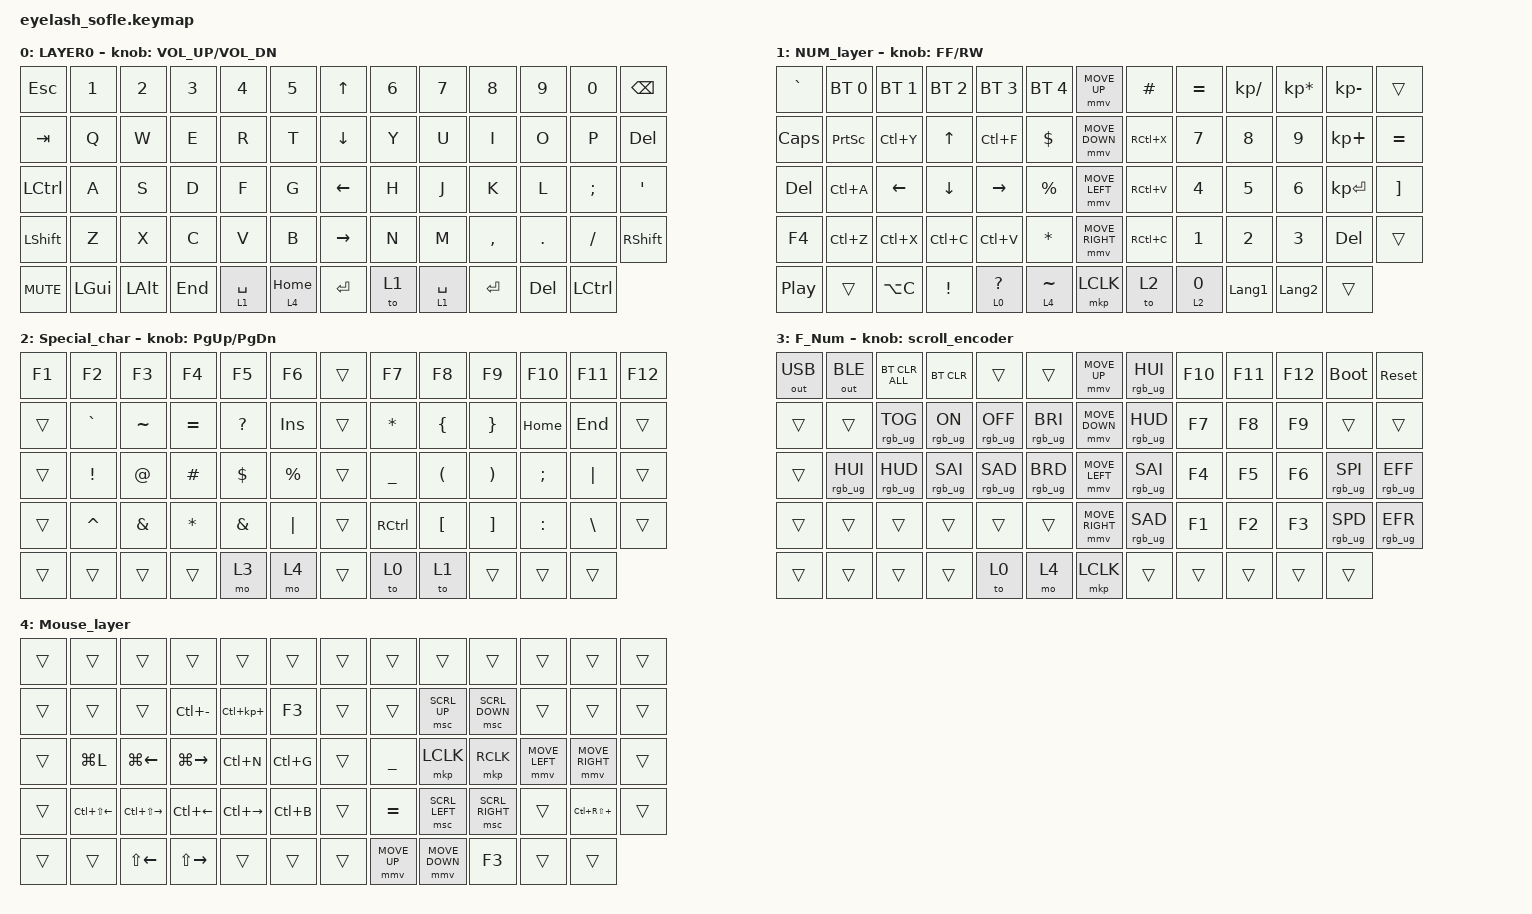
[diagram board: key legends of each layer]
#include <dt-bindings/zmk/mouse.h>
#include <input/processors.dtsi>
#include <behaviors.dtsi>
#include <dt-bindings/zmk/bt.h>
#include <dt-bindings/zmk/keys.h>
#include <dt-bindings/zmk/outputs.h>
#include <dt-bindings/zmk/pointing.h>
#include <dt-bindings/zmk/pointing.h>
#include <dt-bindings/zmk/pointing.h>
#include <dt-bindings/zmk/rgb.h>

/*

   &mmv_input_listener {
       input-processors = <&zip_xy_scaler 2 1>;
   };

   &msc_input_listener {
       input-processors = <&zip_xy_scaler 2 1>;
   };

 */

#define ZMK_MOUSE_DEFAULT_MOVE_VAL 1200  // 600
#define ZMK_MOUSE_DEFAULT_SCRL_VAL 20    // 10

/ {
    behaviors {
        mmv {
            acceleration-exponent = <1>;      // 1
            time-to-max-speed-ms = <900>;    // 40
            delay-ms = <0>;                   // 0
        };

        msc {
            acceleration-exponent = <1>;      // 0
            time-to-max-speed-ms = <400>;      // 500
            delay-ms = <0>;                   //   10
        };
    };

    scroll_encoder: scroll_encoder {
        compatible = "zmk,behavior-sensor-rotate";
        #sensor-binding-cells = <0>;
        bindings = <&msc SCRL_DOWN>, <&msc SCRL_UP>;

        tap-ms = <30>;
    };

    keymap {
        compatible = "zmk,keymap";

        layer0 {
            bindings = <
&kp ESC           &kp N1        &kp N2    &kp N3   &kp N4       &kp N5        &kp UP_ARROW     &kp N6  &kp N7       &kp N8     &kp N9   &kp N0            &kp BACKSPACE
&kp TAB           &kp Q         &kp W     &kp E    &kp R        &kp T         &kp DOWN_ARROW   &kp Y   &kp U        &kp I      &kp O    &kp P             &kp DELETE
&kp LEFT_CONTROL  &kp A         &kp S     &kp D    &kp F        &kp G         &kp LEFT_ARROW   &kp H   &kp J        &kp K      &kp L    &kp SEMI          &kp APOS
&kp LSHFT         &kp Z         &kp X     &kp C    &kp V        &kp B         &kp RIGHT_ARROW  &kp N   &kp M        &kp COMMA  &kp DOT  &kp FSLH          &kp RIGHT_SHIFT
&kp C_MUTE        &kp LEFT_GUI  &kp LALT  &kp END  &lt 1 SPACE  &lt 4 HOME    &kp ENTER        &to 1   &lt 1 SPACE  &kp ENTER  &kp DEL  &kp LEFT_CONTROL
            >;

            sensor-bindings = <&inc_dec_kp C_VOLUME_UP C_VOL_DN>;
            display-name = "LAYER0";
            label = "Default_layer";
        };

        layer_1 {
            bindings = <
&kp GRAVE         &bt BT_SEL 0     &bt BT_SEL 1    &bt BT_SEL 2    &bt BT_SEL 3     &bt BT_SEL 4    &mmv MOVE_UP     &kp HASH   &kp EQUAL       &kp KP_SLASH    &kp KP_MULTIPLY  &kp KP_SUBTRACT  &trans
&kp CAPS          &kp PRINTSCREEN  &kp LC(Y)       &kp UP_ARROW    &kp LC(F)        &kp DOLLAR      &mmv MOVE_DOWN   &kp RC(X)  &kp NUMBER_7    &kp NUMBER_8    &kp NUMBER_9     &kp KP_PLUS      &kp EQUAL
&kp DELETE        &kp LC(A)        &kp LEFT_ARROW  &kp DOWN_ARROW  &kp RIGHT_ARROW  &kp PERCENT     &mmv MOVE_LEFT   &kp RC(V)  &kp NUMBER_4    &kp NUMBER_5    &kp NUMBER_6     &kp KP_ENTER     &kp RIGHT_BRACKET
&kp F4            &kp LC(Z)        &kp LC(X)       &kp LC(C)       &kp LC(V)        &kp ASTERISK    &mmv MOVE_RIGHT  &kp RC(C)  &kp NUMBER_1    &kp NUMBER_2    &kp NUMBER_3     &kp DEL          &trans
&kp C_PLAY_PAUSE  &trans           &kp LA(C)       &kp EXCL        &lt 0 QUESTION   &lt 4 TILDE     &mkp LCLK        &to 2      &lt 2 NUMBER_0  &kp LANGUAGE_1  &kp LANGUAGE_2   &trans
            >;

            display-name = "NUM_layer";
            sensor-bindings = <&inc_dec_kp C_FF C_RW>;
        };

        layer_2 {
            bindings = <
&kp F1  &kp F2     &kp F3         &kp F4     &kp F5         &kp F6         &trans  &kp F7     &kp F8                &kp F9                 &kp F10    &kp F11   &kp F12
&trans  &kp GRAVE  &kp TILDE      &kp EQUAL  &kp QMARK      &kp INS        &trans  &kp ASTRK  &kp LEFT_BRACE        &kp RIGHT_BRACE        &kp HOME   &kp END   &trans
&trans  &kp EXCL   &kp AT         &kp HASH   &kp DOLLAR     &kp PERCENT    &trans  &kp UNDER  &kp LEFT_PARENTHESIS  &kp RIGHT_PARENTHESIS  &kp SEMI   &kp PIPE  &trans
&trans  &kp CARET  &kp AMPERSAND  &kp ASTRK  &kp AMPERSAND  &kp PIPE       &trans  &kp RCTRL  &kp LBKT              &kp RBKT               &kp COLON  &kp BSLH  &trans
&trans  &trans     &trans         &trans     &mo 3          &mo 4          &trans  &to 0      &to 1                 &trans                 &trans     &trans
            >;

            sensor-bindings = <&inc_dec_kp PG_UP PAGE_DOWN>;
            label = "Special_char";
        };

        layer_3 {
            bindings = <
&out OUT_USB  &out OUT_BLE     &bt BT_CLR_ALL   &bt BT_CLR       &trans           &trans             &mmv MOVE_UP     &rgb_ug RGB_HUI  &kp F10  &kp F11  &kp F12  &bootloader      &sys_reset
&trans        &trans           &rgb_ug RGB_TOG  &rgb_ug RGB_ON   &rgb_ug RGB_OFF  &rgb_ug RGB_BRI    &mmv MOVE_DOWN   &rgb_ug RGB_HUD  &kp F7   &kp F8   &kp F9   &trans           &trans
&trans        &rgb_ug RGB_HUI  &rgb_ug RGB_HUD  &rgb_ug RGB_SAI  &rgb_ug RGB_SAD  &rgb_ug RGB_BRD    &mmv MOVE_LEFT   &rgb_ug RGB_SAI  &kp F4   &kp F5   &kp F6   &rgb_ug RGB_SPI  &rgb_ug RGB_EFF
&trans        &trans           &trans           &trans           &trans           &trans             &mmv MOVE_RIGHT  &rgb_ug RGB_SAD  &kp F1   &kp F2   &kp F3   &rgb_ug RGB_SPD  &rgb_ug RGB_EFR
&trans        &trans           &trans           &trans           &to 0            &mo 4              &mkp LCLK        &trans           &trans   &trans   &trans   &trans
            >;

            sensor-bindings = <&scroll_encoder>;
            label = "F_Num";
        };

        layer_4 {
            bindings = <
&trans  &trans            &trans              &trans         &trans           &trans       &trans  &trans          &trans          &trans           &trans          &trans            &trans
&trans  &trans            &trans              &kp LC(MINUS)  &kp LC(KP_PLUS)  &kp F3       &trans  &trans          &msc SCRL_UP    &msc SCRL_DOWN   &trans          &trans            &trans
&trans  &kp LG(L)         &kp LG(LEFT_ARROW)  &kp LG(RIGHT)  &kp LC(N)        &kp LC(G)    &trans  &kp UNDERSCORE  &mkp LCLK       &mkp RCLK        &mmv MOVE_LEFT  &mmv MOVE_RIGHT   &trans
&trans  &kp LC(LS(LEFT))  &kp LC(LS(RIGHT))   &kp LC(LEFT)   &kp LC(RIGHT)    &kp LC(B)    &trans  &kp EQUAL       &msc SCRL_LEFT  &msc SCRL_RIGHT  &trans          &kp LC(RS(PLUS))  &trans
&trans  &trans            &kp LS(LEFT_ARROW)  &kp LS(RIGHT)  &trans           &trans       &trans  &mmv MOVE_UP    &mmv MOVE_DOWN  &kp F3           &trans          &trans
            >;

            label = "Mouse_layer";
        };
    };
};
